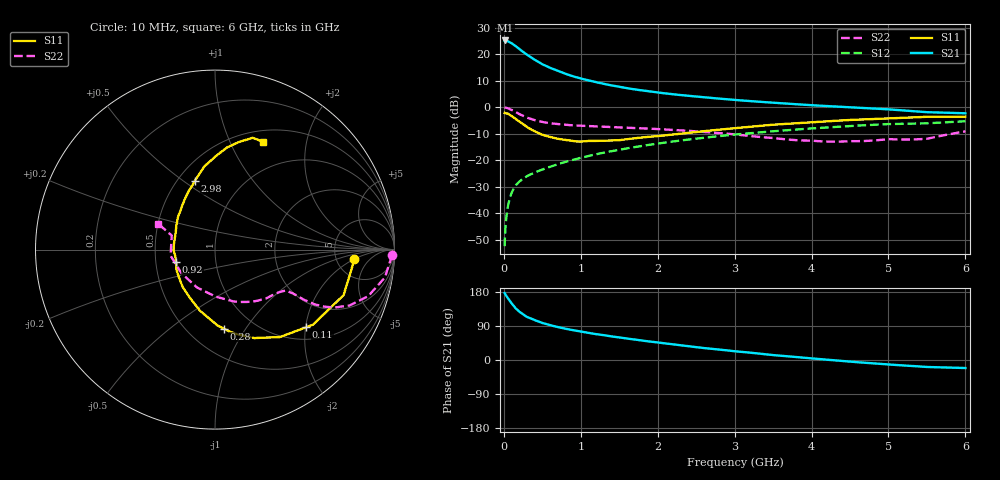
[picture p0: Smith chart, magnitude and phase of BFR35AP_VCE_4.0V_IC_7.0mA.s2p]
! Infineon Technologies  Discrete & RF Semiconductors
! BFR35AP
! VCE =  4.0 V,  IC =  7.0 mA
! Common Emitter S-Parameters:  Nov 2015
# GHz  S  MA  R  50
!  f  S11  S21  S12  S22
! GHz  MAG  ANG  MAG  ANG  MAG  ANG  MAG  ANG
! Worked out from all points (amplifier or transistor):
!   210 points, 10 MHz to 6 GHz, reference 50 ohm
!   highest |S21| = 25.1 dB at 20 MHz (marker M1)
!   |S21| within 3 dB of that: start of sweep to 192.1 MHz
!   unconditionally stable (mu >= 1): 696.9 MHz to 3.327 GHz
!   at 185 MHz: K = 0.46, MSG = 25.4 dB, |S12| = -28.5 dB
!   at 1.52 GHz: K = 1.11, MAG = 9.7 dB, |S12| = -16.0 dB
!   at 6 GHz: K = 0.94, MSG = 1.5 dB, |S12| = -5.3 dB
!   S11 on the Smith chart (normalised r, x): 10 MHz: 7.47, -2.06; 110 MHz: 1.29, -2.02; 280 MHz: 0.73, -0.80; 920 MHz: 0.64, -0.09; 2.98 GHz: 0.61, +0.55; 6 GHz: 0.63, +1.33
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0.01  0.7789 -4.0  17.96 176.6  0.0024 84.6  0.9879 -1.8
0.02  0.7689 -8.0  18.04 173.1  0.0052 84.5  0.9775 -3.8
0.05  0.76 -19.5  17.55 163.7  0.0129 80.1  0.9597 -9.3
0.1  0.6878 -37.5  16.04 149.7  0.0241 72.4  0.8923 -16.9
0.11  0.6678 -40.4  15.64 147.4  0.0258 70.9  0.8757 -17.9
0.15  0.6068 -53.4  14.3 136.8  0.0329 66.5  0.8127 -22.5
0.2  0.5391 -66.1  12.51 127.7  0.0395 62.5  0.7422 -25.8
0.24  0.4888 -75.1  11.27 121.6  0.0438 60.9  0.6949 -27.3
0.28  0.4429 -83.6  10.22 116.4  0.0479 60.0  0.6533 -28.3
0.3  0.4224 -88.2  9.74 113.7  0.0499 59.6  0.6335 -28.8
0.4  0.3504 -103.9  7.817 105.0  0.0584 59.3  0.5678 -29.4
0.5  0.3028 -117.5  6.433 97.7  0.0669 59.7  0.5247 -29.3
0.7  0.254 -142.2  4.826 86.9  0.0837 60.9  0.479 -29.6
0.92  0.2274 -162.4  3.733 77.9  0.1035 61.4  0.4523 -30.5
1.02  0.2251 -172.1  3.407 74.4  0.1127 61.4  0.4448 -31.3
1.4  0.2357 160.8  2.563 62.2  0.1478 60.4  0.4208 -35.6
2.02  0.2863 132.8  1.874 45.6  0.2077 56.2  0.3849 -45.8
2.98  0.3984 106.5  1.375 23.6  0.3023 46.7  0.309 -69.5
3.1  0.4134 104.1  1.333 21.3  0.3134 45.1  0.296 -73.4
4.1  0.5306 88.2  1.067 2.4  0.4056 32.8  0.2279 -121.0
5.1  0.6211 76.3  0.887 -13.2  0.4821 18.9  0.2464 -177.4
6  0.6575 66.2  0.766 -21.2  0.5419 8.6  0.3493 155.5
